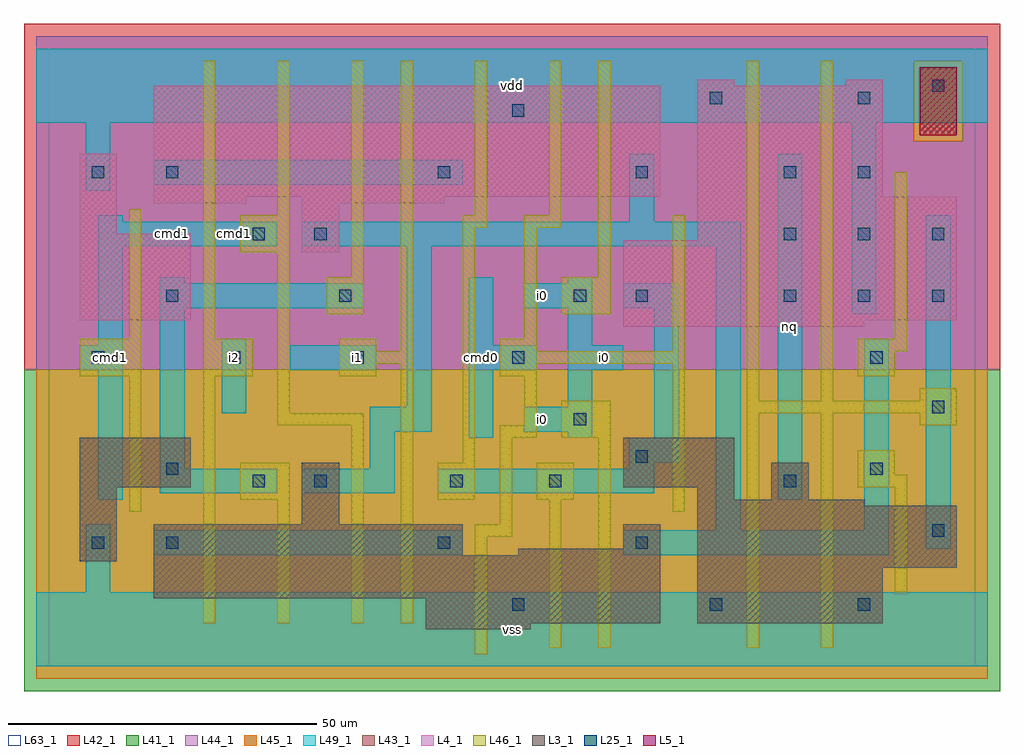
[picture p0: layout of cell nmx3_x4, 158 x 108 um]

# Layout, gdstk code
import gdstk
lib = gdstk.Library(unit=1e-6, precision=1e-09)
def R(c, l, rs):  # rectangles x0, y0, x1, y1
    for r in rs: c.add(gdstk.rectangle(r[:2], r[2:], *l))
def A(c, l, x, y, w, h, nx, ny, dx, dy):  # array of equal rectangles
    R(c, l, [(x+i*dx, y+j*dy, x+i*dx+w, y+j*dy+h) for i in range(nx) for j in range(ny)])
L3_1 = (3, 1)
L4_1 = (4, 1)
L5_1 = (5, 1)
L25_1 = (25, 1)
L41_1 = (41, 1)
L42_1 = (42, 1)
L43_1 = (43, 1)
L44_1 = (44, 1)
L45_1 = (45, 1)
L46_1 = (46, 1)
L49_1 = (49, 1)
L63_1 = (63, 1)

nmx3_x4 = lib.new_cell('nmx3_x4')
R(nmx3_x4, L3_1, [(61,6,78,7), (61,7,99,11), (105,7,135,16), (17,11,99,18), (105,16,147,26), (5,17,11,29), (17,18,67,23), (76,18,99,19), (93,19,99,23), (41,23,47,33), (105,26,132,27), (105,27,111,29), (117,27,123,33), (5,29,23,37), (93,29,111,37)])
R(nmx3_x4, L4_1, [(93,55,132,56), (5,56,23,70), (93,56,147,69), (41,67,47,75), (105,69,147,76), (5,70,11,83), (17,75,32,76), (41,75,64,76), (17,76,99,94), (105,76,135,94), (105,94,111,95), (129,94,135,95)])
R(nmx3_x4, L5_1, [(141,86,147,97)])
A(nmx3_x4, L25_1, 75, 9, 2, 2, 1, 3, 0, 40)
A(nmx3_x4, L25_1, 7, 19, 2, 2, 1, 3, 0, 30)
A(nmx3_x4, L25_1, 119, 59, 2, 2, 3, 2, 12, 10)
R(nmx3_x4, L25_1, [(107,9,109,11), (131,9,133,11), (19,19,21,21), (63,19,65,21), (95,19,97,21), (143,21,145,23), (33,29,35,31), (43,29,45,31), (65,29,67,31), (81,29,83,31), (119,29,121,31), (19,31,21,33), (133,31,135,33), (95,33,97,35), (85,39,87,41), (143,41,145,43), (29,49,31,51), (49,49,51,51), (133,49,135,51), (19,59,21,61), (47,59,49,61), (85,59,87,61), (95,59,97,61), (33,69,35,71), (43,69,45,71), (19,79,21,81), (63,79,65,81), (95,79,97,81), (119,79,121,81), (131,79,133,81), (107,91,109,93), (131,91,133,93), (143,93,145,95)])
R(nmx3_x4, L41_1, [(-4,-4,154,48)])
R(nmx3_x4, L42_1, [(-4,48,154,104)])
R(nmx3_x4, L43_1, [(61,6,78,7), (61,7,99,11), (105,7,135,16), (17,11,99,18), (105,16,147,26), (5,17,11,29), (17,18,67,23), (76,18,99,19), (93,19,99,23), (41,23,47,33), (105,26,132,27), (105,27,111,29), (117,27,123,33), (5,29,23,37), (93,29,111,37), (93,55,132,56), (5,56,23,70), (93,56,147,69), (41,67,47,75), (105,69,147,76), (5,70,11,83), (17,75,32,76), (41,75,64,76), (17,76,99,94), (105,76,135,94), (141,86,147,97), (105,94,111,95), (129,94,135,95)])
R(nmx3_x4, L44_1, [(-2,48,152,85), (-2,85,140,98), (148,85,152,98), (-2,98,152,102)])
R(nmx3_x4, L45_1, [(-2,-2,152,48), (140,85,148,98)])
R(nmx3_x4, L46_1, [(69,2,71,21), (81,3,83,27), (89,3,91,37), (113,3,115,41), (125,3,127,41), (25,7,27,47), (37,7,39,27), (49,7,51,39), (57,7,59,49), (137,12,139,29), (69,21,75,23), (73,23,75,37), (13,25,15,47), (101,25,103,49), (31,27,39,33), (63,27,69,33), (79,27,85,33), (131,29,139,31), (131,31,137,35), (67,33,69,71), (73,37,79,39), (83,37,91,43), (37,39,51,41), (77,39,79,47), (141,39,147,41), (37,41,39,67), (113,41,147,43), (113,43,115,98), (125,43,127,98), (141,43,147,45), (5,47,15,53), (25,47,33,53), (47,47,53,49), (73,47,79,49), (131,47,137,51), (47,49,59,51), (73,49,103,51), (47,51,53,53), (57,51,59,98), (73,51,79,53), (101,51,103,73), (131,51,139,53), (13,53,15,74), (25,53,27,98), (77,53,79,71), (137,53,139,80), (45,57,51,63), (83,57,91,63), (49,63,51,98), (89,63,91,98), (31,67,39,73), (67,71,71,73), (77,71,83,73), (37,73,39,98), (69,73,71,98), (81,73,83,98)])
R(nmx3_x4, L49_1, [(-2,0,152,12), (6,12,10,23), (17,18,67,22), (93,18,136,22), (142,19,146,73), (108,22,112,68), (132,22,136,53), (8,27,12,48), (118,27,122,83), (18,28,37,32), (41,28,56,32), (63,28,98,32), (18,32,22,58), (52,32,56,38), (94,32,98,33), (94,33,102,37), (68,37,72,48), (84,37,88,38), (98,37,102,58), (52,38,62,42), (77,38,88,42), (28,41,32,53), (58,42,62,68), (84,42,88,48), (5,48,12,52), (39,48,53,52), (68,48,79,52), (84,48,93,52), (8,52,12,68), (68,52,72,63), (84,52,88,58), (130,57,134,88), (18,58,51,62), (77,58,88,62), (93,58,102,62), (18,62,22,63), (84,62,88,63), (8,68,37,72), (41,68,112,72), (8,72,12,73), (94,72,98,83), (6,77,10,88), (17,78,67,82), (-2,88,152,100)])
R(nmx3_x4, L63_1, [(0,0,150,100)])
nmx3_x4.add(gdstk.Label('cmd1', (10,50), layer=49, texttype=1))
nmx3_x4.add(gdstk.Label('cmd1', (20,70), layer=49, texttype=1))
nmx3_x4.add(gdstk.Label('i2', (30,50), layer=49, texttype=1))
nmx3_x4.add(gdstk.Label('i1', (50,50), layer=49, texttype=1))
nmx3_x4.add(gdstk.Label('cmd1', (30,70), layer=49, texttype=1))
nmx3_x4.add(gdstk.Label('vss', (75,6), layer=49, texttype=1))
nmx3_x4.add(gdstk.Label('i0', (80,40), layer=49, texttype=1))
nmx3_x4.add(gdstk.Label('cmd0', (70,50), layer=49, texttype=1))
nmx3_x4.add(gdstk.Label('i0', (80,60), layer=49, texttype=1))
nmx3_x4.add(gdstk.Label('vdd', (75,94), layer=49, texttype=1))
nmx3_x4.add(gdstk.Label('i0', (90,50), layer=49, texttype=1))
nmx3_x4.add(gdstk.Label('nq', (120,55), layer=49, texttype=1))

lib.write_gds('nmx3_x4.gds')
